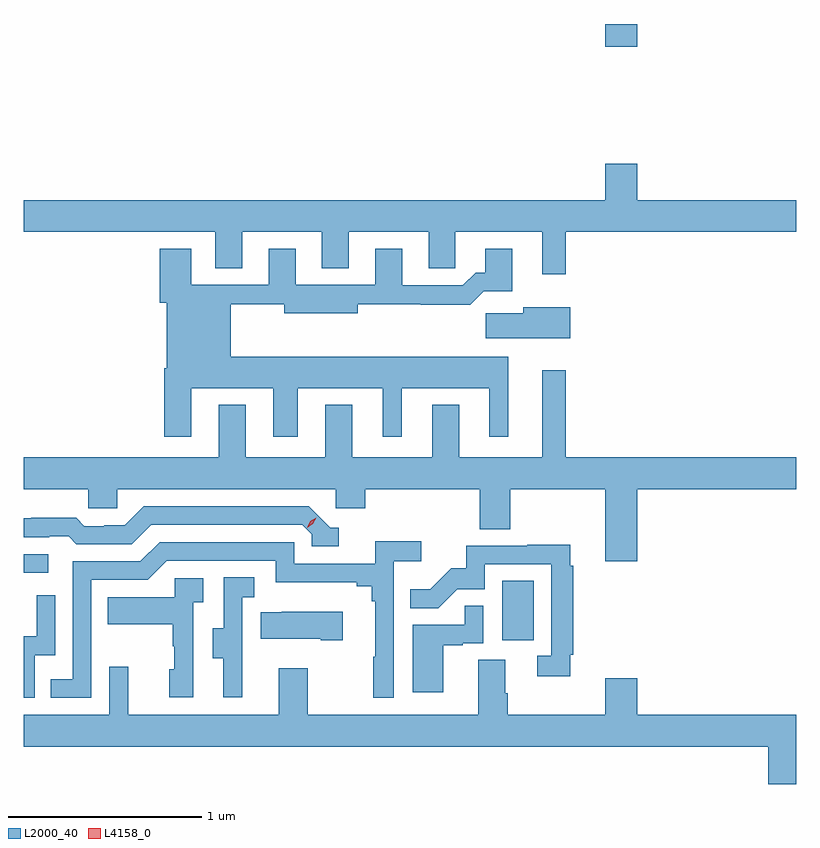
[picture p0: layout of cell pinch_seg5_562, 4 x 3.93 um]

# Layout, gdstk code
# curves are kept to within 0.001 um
import gdstk
lib = gdstk.Library(unit=1e-6, precision=1e-09)
def R(c, l, rs):  # rectangles x0, y0, x1, y1
    for r in rs: c.add(gdstk.rectangle(r[:2], r[2:], *l))
def P(c, l, *ps):  # polygons
    for p in ps: c.add(gdstk.Polygon(p, *l))
L2000_40 = (2000, 40)
L4158_0 = (4158, 0)

pinch_seg5_562 = lib.new_cell('pinch_seg5_562')
R(pinch_seg5_562, L2000_40, [(1111.526,870.63,1111.69,870.937), (1109.049,870.978,1109.176,871.074), (1112.06,873.702,1112.224,873.819)])
P(pinch_seg5_562, L2000_40, [(1111.855,872.744),(1113.049,872.744),(1113.049,872.908),(1112.224,872.908),(1112.224,873.097),(1112.06,873.097),(1112.06,872.908),(1109.049,872.908),(1109.049,872.744),(1110.041,872.744),(1110.041,872.554),(1110.181,872.554),(1110.181,872.744),(1110.593,872.744),(1110.593,872.555),(1110.733,872.555),(1110.733,872.744),(1111.145,872.744),(1111.145,872.554),(1111.284,872.554),(1111.284,872.744),(1111.733,872.744),(1111.733,872.523),(1111.855,872.523)],
  [(1109.917,871.934),(1110.341,871.934),(1110.341,871.683),(1110.469,871.683),(1110.469,871.934),(1110.908,871.934),(1110.908,871.683),(1111.006,871.683),(1111.006,871.934),(1111.46,871.934),(1111.46,871.683),(1111.558,871.683),(1111.558,872.098),(1110.121,872.098),(1110.121,872.368),(1110.398,872.368),(1110.398,872.321),(1110.778,872.321),(1110.778,872.368),(1111.105,872.368),(1111.105,872.366),(1111.361,872.366),(1111.43,872.435),(1111.579,872.435),(1111.579,872.656),(1111.439,872.656),(1111.439,872.533),(1111.39,872.533),(1111.323,872.466),(1111.009,872.466),(1111.009,872.656),(1110.869,872.656),(1110.869,872.469),(1110.457,872.47),(1110.457,872.656),(1110.317,872.656),(1110.317,872.469),(1109.917,872.469),(1109.917,872.656),(1109.753,872.656),(1109.753,872.376),(1109.789,872.376),(1109.789,872.038),(1109.777,872.038),(1109.777,871.683),(1109.917,871.683)],
  [(1111.879,872.353),(1111.634,872.353),(1111.634,872.321),(1111.44,872.321),(1111.44,872.192),(1111.879,872.192)],
  [(1111.855,872.026),(1111.733,872.026),(1111.733,871.576),(1111.303,871.576),(1111.303,871.849),(1111.163,871.849),(1111.163,871.576),(1110.751,871.576),(1110.751,871.849),(1110.611,871.849),(1110.611,871.576),(1110.199,871.576),(1110.199,871.849),(1110.059,871.849),(1110.059,871.576),(1109.049,871.576),(1109.049,871.412),(1109.385,871.412),(1109.385,871.314),(1109.535,871.314),(1109.535,871.412),(1110.666,871.412),(1110.666,871.314),(1110.818,871.314),(1110.818,871.412),(1111.409,871.412),(1111.409,871.204),(1111.569,871.204),(1111.569,871.412),(1112.06,871.412),(1112.06,871.038),(1112.224,871.038),(1112.224,871.412),(1113.049,871.412),(1113.049,871.576),(1111.855,871.576)],
  [(1110.679,871.212),(1110.636,871.212),(1110.525,871.323),(1109.672,871.323),(1109.573,871.224),(1109.466,871.224),(1109.466,871.221),(1109.363,871.221),(1109.321,871.264),(1109.088,871.264),(1109.088,871.261),(1109.049,871.261),(1109.049,871.164),(1109.183,871.164),(1109.183,871.167),(1109.282,871.167),(1109.321,871.128),(1109.61,871.128),(1109.709,871.227),(1110.492,871.227),(1110.54,871.179),(1110.54,871.116),(1110.679,871.116)],
  [(1109.4,870.942),(1109.691,870.942),(1109.79,871.041),(1110.354,871.041),(1110.354,870.929),(1110.773,870.929),(1110.773,870.91),(1110.85,870.91),(1110.85,870.833),(1110.869,870.833),(1110.869,870.545),(1110.858,870.545),(1110.858,870.333),(1110.966,870.333),(1110.966,871.04),(1111.108,871.04),(1111.108,871.142),(1110.869,871.142),(1110.869,871.026),(1110.45,871.026),(1110.45,871.137),(1109.753,871.137),(1109.654,871.038),(1109.304,871.038),(1109.304,870.429),(1109.191,870.429),(1109.191,870.333),(1109.4,870.333)],
  [(1111.877,870.556),(1111.895,870.556),(1111.895,871.016),(1111.877,871.016),(1111.877,871.124),(1111.657,871.124),(1111.657,871.119),(1111.339,871.119),(1111.339,871.002),(1111.262,871.002),(1111.155,870.895),(1111.051,870.895),(1111.051,870.796),(1111.195,870.796),(1111.293,870.894),(1111.437,870.894),(1111.437,871.023),(1111.779,871.023),(1111.779,870.549),(1111.707,870.549),(1111.707,870.444),(1111.877,870.444)],
  [(1110.182,870.549),(1110.18,870.549),(1110.18,870.853),(1110.244,870.853),(1110.244,870.956),(1110.084,870.956),(1110.084,870.693),(1110.029,870.693),(1110.029,870.538),(1110.083,870.538),(1110.083,870.336),(1110.182,870.336)],
  [(1109.928,870.827),(1109.98,870.827),(1109.98,870.951),(1109.832,870.951),(1109.832,870.853),(1109.485,870.853),(1109.485,870.713),(1109.82,870.713),(1109.82,870.599),(1109.83,870.599),(1109.83,870.48),(1109.804,870.48),(1109.804,870.336),(1109.928,870.336)],
  [(1109.106,870.552),(1109.214,870.552),(1109.214,870.862),(1109.118,870.862),(1109.118,870.65),(1109.049,870.65),(1109.049,870.333),(1109.106,870.333)],
  [(1111.222,870.603),(1111.322,870.603),(1111.322,870.615),(1111.428,870.615),(1111.428,870.809),(1111.333,870.809),(1111.333,870.711),(1111.064,870.711),(1111.064,870.36),(1111.222,870.36)],
  [(1110.7,870.778),(1110.385,870.778),(1110.385,870.775),(1110.277,870.775),(1110.277,870.638),(1110.587,870.638),(1110.587,870.631),(1110.7,870.631)],
  [(1112.903,869.886),(1113.049,869.886),(1113.049,870.244),(1112.224,870.244),(1112.224,870.433),(1112.06,870.433),(1112.06,870.244),(1111.556,870.244),(1111.556,870.356),(1111.543,870.356),(1111.543,870.53),(1111.403,870.53),(1111.403,870.244),(1110.519,870.244),(1110.519,870.484),(1110.371,870.484),(1110.371,870.244),(1109.591,870.244),(1109.591,870.493),(1109.493,870.493),(1109.493,870.244),(1109.049,870.244),(1109.049,870.08),(1112.903,870.08)])
P(pinch_seg5_562, L4158_0, [(1110.516,871.213),(1110.516,871.214),(1110.532,871.246),(1110.563,871.265),(1110.564,871.265),(1110.564,871.265),(1110.547,871.232),(1110.516,871.213)])

lib.write_gds('pinch_seg5_562.gds')
